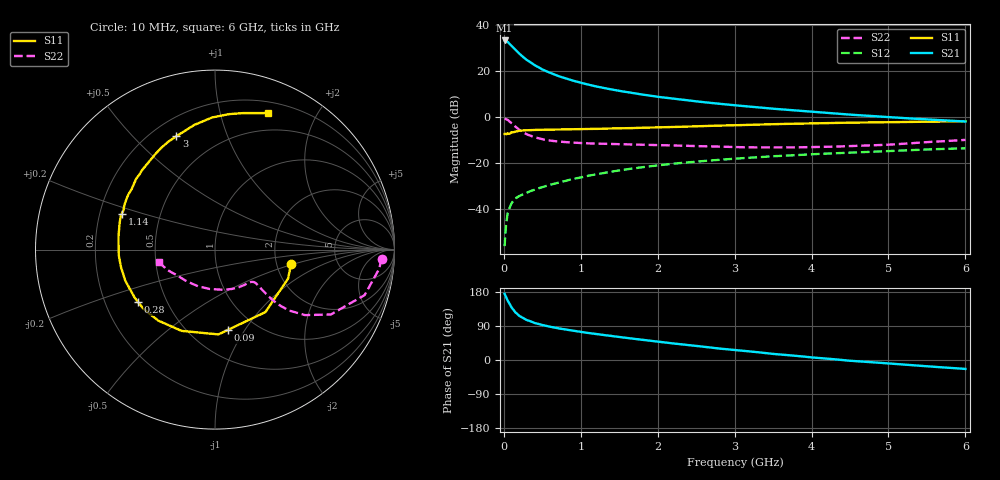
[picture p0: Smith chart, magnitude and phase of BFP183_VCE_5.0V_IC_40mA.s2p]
! Infineon Technologies  Discrete & RF Semiconductors
! BFP183
! VCE = 5.0 V,  IC =  40 mA
! Common Emitter S-Parameters:  Jan 2016
# GHz  S  MA  R  50
!  f  S11  S21  S12  S22
! GHz  MAG  ANG  MAG  ANG  MAG  ANG  MAG  ANG
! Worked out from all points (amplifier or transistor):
!   210 points, 10 MHz to 6 GHz, reference 50 ohm
!   highest |S21| = 33.2 dB at 10 MHz (marker M1)
!   |S21| within 3 dB of that: start of sweep to 121 MHz
!   unconditionally stable (mu >= 1): 568.2 MHz to 5.854 GHz
!   at 185 MHz: K = 0.53, MSG = 31.3 dB, |S12| = -34.5 dB
!   at 1.52 GHz: K = 1.20, MAG = 14.5 dB, |S12| = -23.0 dB
!   at 6 GHz: K = 0.98, MSG = 5.8 dB, |S12| = -13.5 dB
!   S11 on the Smith chart (normalised r, x): 10 MHz: 2.41, -0.46; 90 MHz: 0.75, -0.84; 280 MHz: 0.34, -0.28; 1.14 GHz: 0.29, +0.17; 3 GHz: 0.30, +0.67; 6 GHz: 0.31, +1.41
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0.01  0.4317 -10.4  45.81 174.8  0.0016 81.0  0.9299 -3.1
0.02  0.4379 -21.7  45.55 170.4  0.003 83.5  0.9204 -6.8
0.05  0.4474 -51.1  42.77 156.4  0.0083 74.0  0.8712 -16.9
0.09  0.4533 -80.9  36.49 142.6  0.0125 62.3  0.7636 -26.4
0.1  0.4729 -87.7  35.32 138.4  0.0136 60.5  0.7406 -29.2
0.15  0.4897 -112.4  28.91 125.5  0.0173 54.8  0.6212 -36.0
0.2  0.5064 -128.6  23.87 116.6  0.0195 53.4  0.5331 -39.5
0.24  0.5141 -137.8  20.75 111.5  0.0209 51.9  0.4822 -40.6
0.28  0.5186 -145.5  18.33 107.3  0.0224 51.8  0.4414 -41.1
0.3  0.5215 -149.0  17.25 105.3  0.0232 52.0  0.4227 -41.2
0.4  0.5291 -160.9  13.36 97.6  0.0269 53.6  0.3657 -40.8
0.5  0.5328 -169.5  10.78 92.2  0.0304 54.4  0.3314 -40.2
0.7  0.5377 178.1  7.819 83.8  0.0376 57.5  0.2963 -39.4
1.02  0.5527 163.5  5.436 73.6  0.0501 58.8  0.2736 -41.1
1.14  0.5565 158.9  4.879 70.3  0.0553 58.3  0.2687 -42.3
1.5  0.5722 147.4  3.709 60.6  0.0701 57.1  0.259 -47.1
2.02  0.6016 132.1  2.733 48.1  0.0907 53.0  0.2482 -57.2
3  0.6673 108.8  1.807 26.3  0.1258 44.0  0.2248 -82.5
3.1  0.6732 106.8  1.746 24.5  0.1289 43.0  0.2228 -85.5
4.1  0.7397 89.8  1.271 5.3  0.1594 33.5  0.2256 -118.1
5.1  0.7795 77.4  0.974 -10.6  0.1858 25.4  0.2585 -147.1
6  0.8154 68.8  0.803 -23.6  0.2113 16.9  0.321 -167.4
